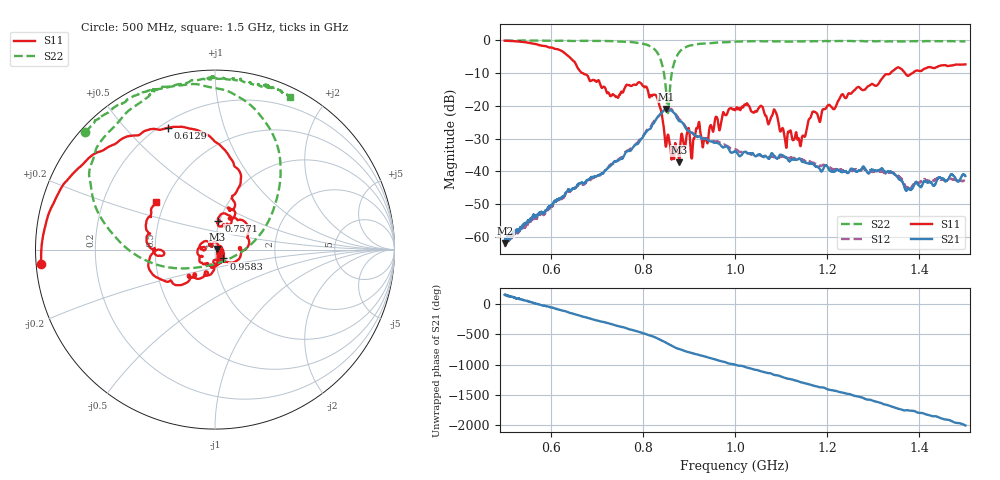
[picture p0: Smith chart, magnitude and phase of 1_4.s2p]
!Agilent Technologies,E8364B,US42250235,A.06.04.32
!Agilent E8364B: A.06.04.32
!Date: Thursday, October 01, 2020 14:37:56
!Correction: S11(Full 2 Port(1,2)) S21(Full 2 Port(1,2)) S12(Full 2 Port(1,2)) S22(Full 2 Port(1,2))
!S2P File: Measurements: S11, S21, S12, S22:
# Hz S  dB  R 50
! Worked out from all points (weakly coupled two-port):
!   2650 points, 500 MHz to 1.5 GHz, reference 50 ohm
!   highest |S21| = -20.96 dB at 851.1 MHz (marker M1); lowest = -61.8 dB at 501.5 MHz (marker M2)
!   lowest |S11| = -37.2 dB at 879 MHz (marker M3), VSWR 1.03, Z = 51.4 + j0.336 ohm
!   |S11| at or under -10 dB: 667.4 MHz to 1.338 GHz (670.6 MHz wide, 66.9 % of centre); 1.369 GHz to 1.387 GHz (17.96 MHz wide, 1.3 % of centre)
!   |S22| runs from -22.2 to -0.2 dB; largest |S21 - S12| = 0.006
!   S11 on the Smith chart (normalised r, x): 500 MHz: 0.01, -0.04; 612.9 MHz: 0.23, +0.66; 757.1 MHz: 0.99, +0.32; 958.3 MHz: 1.09, -0.11; 1.5 GHz: 0.45, +0.29
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5e8  -0.23 -175.2  -61.35 148.8  -61.68 145.4  -0.22 137.9
5.0151e8  -0.25 -175.9  -61.82 149.5  -61.26 144.5  -0.23 137.6
6.128728e8  -2.76 111.1  -48.75 -83.1  -48.95 -88.7  -0.26 126.3
6.668554e8  -9.97 71.7  -43.45 155.1  -43.81 153.7  -0.29 120.2
7.570781e8  -15.89 83.4  -35.83 -25.1  -35.27 -20.9  -0.53 104.9
8.065308e8  -14.15 14.6  -28.13 -137.8  -27.87 -133.2  -1.37 80.0
8.337108e8  -18.78 -39.4  -23.31 143.3  -23.18 145.2  -4.43 52.6
8.510759e8  -31.72 -30.7  -20.96 75.9  -20.69 79.0  -16.60 -5.0
8.790109e8  -37.17 13.6  -24.72 -24.2  -24.08 -23.9  -3.71 165.0
8.97886e8  -27.11 -7.8  -27.58 -71.4  -27.09 -71.2  -1.90 150.4
9.07701e8  -33.65 11.1  -28.27 -92.5  -28.34 -94.6  -1.56 145.9
9.194035e8  -26.47 -15.4  -29.49 -115.1  -29.39 -113.6  -1.27 140.3
9.348811e8  -30.49 -35.5  -30.04 -147.5  -29.87 -145.1  -1.09 133.3
9.582861e8  -23.40 -46.6  -31.23 161.8  -30.88 164.1  -0.83 122.7
1.000189e9  -21.38 -105.0  -33.88 77.9  -33.29 76.5  -0.53 112.3
1.086636e9  -21.51 156.3  -35.60 -93.4  -35.51 -92.1  -0.46 109.1
1.108909e9  -30.56 118.4  -35.58 -141.0  -35.77 -139.1  -0.52 104.0
1.139864e9  -31.00 -35.4  -36.03 156.5  -36.20 155.3  -0.44 97.0
1.166667e9  -22.43 -63.0  -37.62 101.1  -37.33 97.7  -0.43 92.1
1.333522e9  -10.44 -145.1  -40.05 124.8  -40.41 125.4  -0.43 78.2
1.37467e9  -10.91 -177.0  -45.35 47.0  -44.86 42.9  -0.42 73.1
1.5e9  -7.45 141.0  -41.37 156.0  -42.66 164.8  -0.47 64.0
